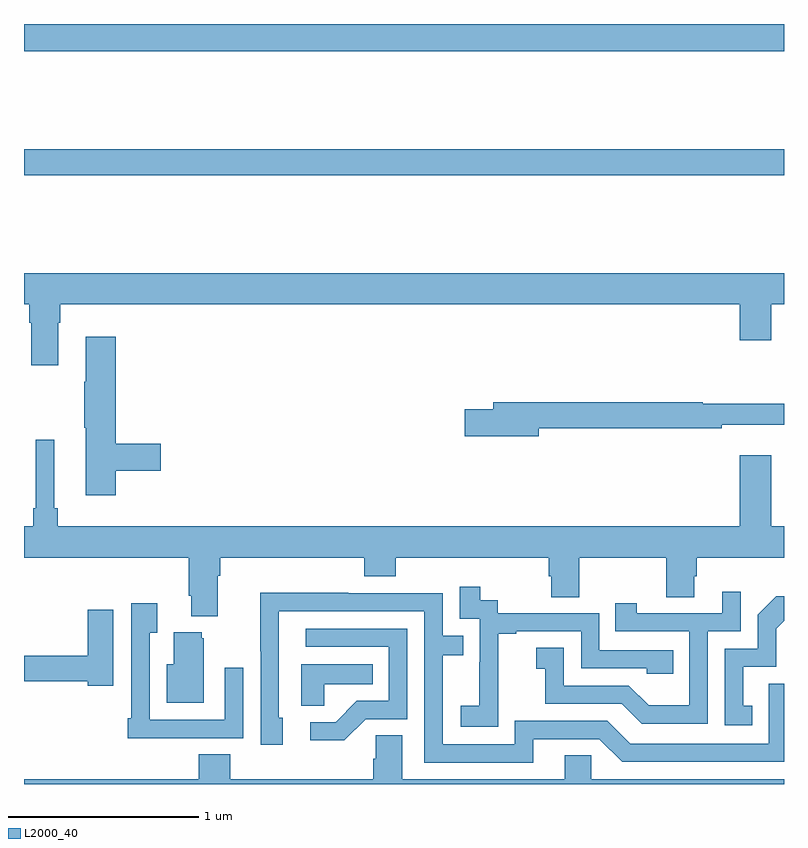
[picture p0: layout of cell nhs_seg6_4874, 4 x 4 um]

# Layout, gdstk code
import gdstk
lib = gdstk.Library(unit=1e-6, precision=1e-09)
def R(c, l, rs):  # rectangles x0, y0, x1, y1
    for r in rs: c.add(gdstk.rectangle(r[:2], r[2:], *l))
def P(c, l, *ps):  # polygons
    for p in ps: c.add(gdstk.Polygon(p, *l))
L2000_40 = (2000, 40)

nhs_seg6_4874 = lib.new_cell('nhs_seg6_4874')
R(nhs_seg6_4874, L2000_40, [(401,926.704,405,926.84), (401,927.356,405,927.5)])
P(nhs_seg6_4874, L2000_40, [(401.179,925.928),(401.192,925.928),(401.192,926.024),(404.768,926.024),(404.768,925.836),(404.932,925.836),(404.932,926.024),(405,926.024),(405,926.188),(401,926.188),(401,926.024),(401.027,926.024),(401.027,925.928),(401.039,925.928),(401.039,925.704),(401.179,925.704)],
  [(401.483,925.15),(401.719,925.15),(401.719,925.292),(401.483,925.292),(401.483,925.855),(401.324,925.855),(401.324,925.616),(401.317,925.616),(401.317,925.375),(401.324,925.375),(401.324,925.02),(401.483,925.02)],
  [(403.708,925.372),(404.672,925.372),(404.672,925.391),(405,925.391),(405,925.501),(404.573,925.501),(404.573,925.508),(403.469,925.508),(403.469,925.472),(403.32,925.472),(403.32,925.33),(403.708,925.33)],
  [(402.019,924.596),(402.032,924.596),(402.032,924.692),(402.791,924.692),(402.791,924.593),(402.956,924.593),(402.956,924.692),(403.763,924.692),(403.763,924.594),(403.775,924.594),(403.775,924.484),(403.923,924.484),(403.923,924.692),(404.38,924.692),(404.38,924.484),(404.527,924.484),(404.527,924.594),(404.54,924.594),(404.54,924.692),(405,924.692),(405,924.856),(404.932,924.856),(404.932,925.231),(404.768,925.231),(404.768,924.856),(401.177,924.856),(401.177,924.952),(401.158,924.952),(401.158,925.312),(401.061,925.312),(401.061,924.952),(401.048,924.952),(401.048,924.856),(401,924.856),(401,924.692),(401.867,924.692),(401.867,924.49),(401.879,924.49),(401.879,924.383),(402.019,924.383)],
  [(403.497,924.007),(403.496,924.007),(403.496,924.291),(403.591,924.291),(403.591,924.303),(403.932,924.303),(403.932,924.108),(404.277,924.108),(404.277,924.081),(404.417,924.081),(404.417,924.204),(404.028,924.204),(404.028,924.399),(403.494,924.399),(403.494,924.468),(403.402,924.468),(403.402,924.538),(403.293,924.538),(403.293,924.369),(403.398,924.369),(403.398,924.14),(403.397,924.14),(403.397,923.911),(403.299,923.911),(403.299,923.801),(403.497,923.801)],
  [(404.598,924.303),(404.772,924.303),(404.772,924.511),(404.675,924.511),(404.675,924.399),(404.224,924.399),(404.224,924.451),(404.113,924.451),(404.113,924.303),(404.502,924.303),(404.502,923.914),(404.288,923.914),(404.184,924.018),(403.842,924.018),(403.842,924.217),(403.695,924.217),(403.695,924.107),(403.744,924.107),(403.744,923.922),(404.147,923.922),(404.252,923.817),(404.598,923.817)],
  [(403.681,923.736),(404.028,923.736),(404.148,923.616),(405,923.616),(405,924.027),(404.919,924.027),(404.919,923.712),(404.19,923.712),(404.07,923.832),(403.584,923.832),(403.584,923.709),(403.203,923.709),(403.203,924.178),(403.313,924.178),(403.313,924.279),(403.203,924.279),(403.203,924.504),(402.707,924.504),(402.707,924.506),(402.244,924.506),(402.244,924.199),(402.246,924.199),(402.246,923.706),(402.361,923.706),(402.361,923.85),(402.342,923.85),(402.342,924.408),(403.107,924.408),(403.107,923.613),(403.681,923.613)],
  [(404.834,923.913),(404.785,923.913),(404.785,924.117),(404.958,924.117),(404.958,924.318),(405,924.36),(405,924.488),(404.96,924.488),(404.862,924.39),(404.862,924.213),(404.688,924.213),(404.688,923.808),(404.834,923.808)],
  [(401.837,923.742),(402.153,923.742),(402.153,924.112),(402.057,924.112),(402.057,923.838),(401.661,923.838),(401.661,924.295),(401.701,924.295),(401.701,924.451),(401.565,924.451),(401.565,923.845),(401.545,923.845),(401.545,923.741),(401.837,923.741)],
  [(401.47,924.418),(401.336,924.418),(401.336,924.176),(401,924.176),(401,924.04),(401.336,924.04),(401.336,924.017),(401.47,924.017)],
  [(402.798,923.841),(403.017,923.841),(403.017,924.318),(402.483,924.318),(402.483,924.222),(402.921,924.222),(402.921,923.937),(402.752,923.937),(402.641,923.826),(402.507,923.826),(402.507,923.729),(402.685,923.729)],
  [(401.947,924.267),(401.936,924.267),(401.936,924.298),(401.789,924.298),(401.789,924.13),(401.75,924.13),(401.75,923.927),(401.947,923.927)],
  [(402.579,924.026),(402.836,924.026),(402.836,924.13),(402.458,924.13),(402.458,923.911),(402.579,923.911)],
  [(401.921,923.657),(401.921,923.524),(401,923.524),(401,923.5),(405,923.5),(405,923.524),(403.986,923.524),(403.986,923.651),(403.847,923.651),(403.847,923.524),(402.991,923.524),(402.991,923.756),(402.852,923.756),(402.852,923.633),(402.839,923.633),(402.839,923.524),(402.086,923.524),(402.086,923.657)])

lib.write_gds('nhs_seg6_4874.gds')
